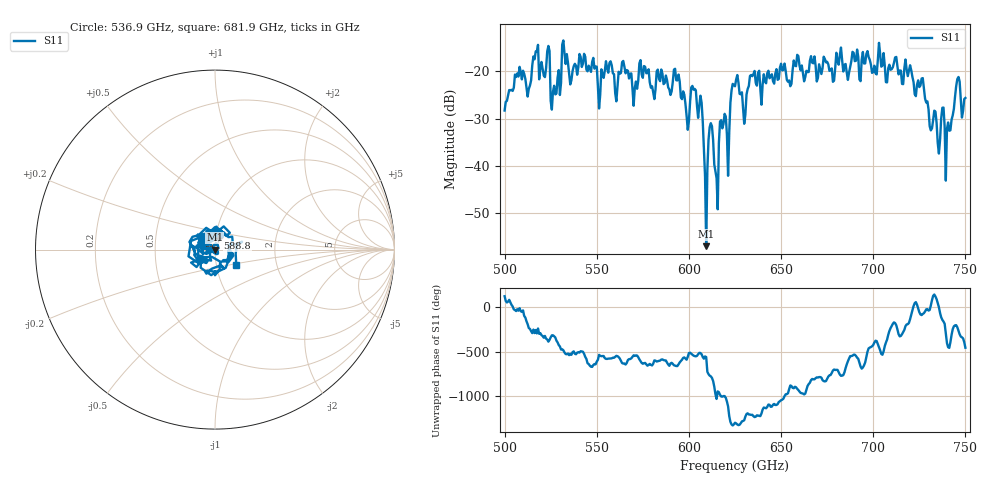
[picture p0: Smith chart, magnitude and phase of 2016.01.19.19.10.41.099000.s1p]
!Created with skrf (http://scikit-rf.org).
# GHz S RI R 50.0
!freq ReS11 ImS11
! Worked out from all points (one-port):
!   401 points, 500 GHz to 750 GHz, reference 50 ohm
!   lowest |S11| = -56.9 dB at 609.4 GHz (marker M1), VSWR 1.00, Z = 49.9 + j0.0535 ohm
!   |S11| at or under -10 dB: start of sweep to end of sweep
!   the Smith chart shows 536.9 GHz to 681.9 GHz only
!   S11 on the Smith chart (normalised r, x): 536.9 GHz: 0.84, -0.09; 588.8 GHz: 1.03, +0.13; 681.9 GHz: 1.25, -0.23
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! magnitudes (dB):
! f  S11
! 500 GHz  -28.3
! 513.1 GHz  -23.7
! 516.9 GHz  -15.8
! 523.1 GHz  -15.8
! 526.2 GHz  -24.3
! 531.2 GHz  -14.4
! 536.9 GHz  -20.0
! 562.5 GHz  -20.6
! 588.8 GHz  -23.4
! 593.8 GHz  -22.0
! 598.8 GHz  -29.5
! 606.2 GHz  -25.2
! 609.4 GHz  -56.9
! 611.9 GHz  -31.0
! 615 GHz  -42.6
! 618.1 GHz  -32.1
! 621.2 GHz  -42.1
! 625 GHz  -23.2
! 630 GHz  -31.1
! 634.4 GHz  -21.1
! 656.2 GHz  -19.8
! 681.9 GHz  -16.6
! 687.5 GHz  -19.1
! 718.8 GHz  -21.0
! 735.6 GHz  -37.4
! 740.6 GHz  -30.8
! 745.6 GHz  -21.7
! 750 GHz  -25.7
